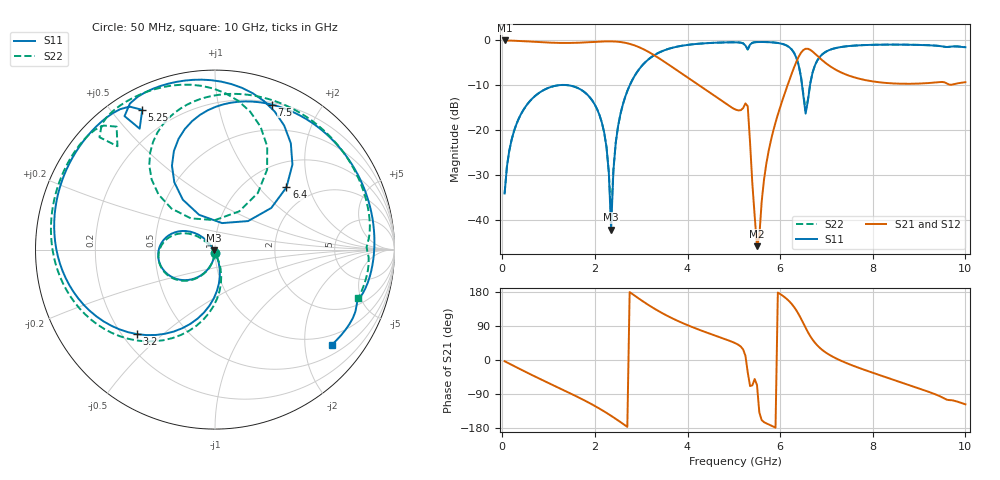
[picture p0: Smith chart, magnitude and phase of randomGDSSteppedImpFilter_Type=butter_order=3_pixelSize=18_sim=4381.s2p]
! freq	dB(S11)	phase(S11)	dB(S12)	phase(S12)
!  dB(S21)	phase(S21)	dB(S22)	phase(S22)
!S-par simulation data
#  GHz  S  DB  R 50
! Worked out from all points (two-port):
!   200 points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, 50 MHz to 10 GHz, reference 50 ohm
!   highest |S21| = 0.00 dB at 50 MHz (marker M1); lowest = -45.9 dB at 5.5 GHz (marker M2)
!   |S21| within 3 dB of the highest: start of sweep to 3.233 GHz; 6.435 GHz to 6.759 GHz (323.6 MHz wide, 4.91 % of centre)
!   lowest |S11| = -42.2 dB at 2.35 GHz (marker M3), VSWR 1.02, Z = 49.3 - j0.384 ohm
!   |S11| at or under -10 dB: start of sweep to 1.207 GHz; 1.426 GHz to 2.752 GHz (1.327 GHz wide, 63.5 % of centre); 6.472 GHz to 6.645 GHz (172.7 MHz wide, 2.63 % of centre)
!   |S22| runs from -39.2 to -0.3 dB; largest |S21 - S12| = 0
!   S11 on the Smith chart (normalised r, x): 50 MHz: 1.00, -0.04; 3.2 GHz: 0.26, -0.41; 5.25 GHz: 0.09, +0.60; 6.4 GHz: 1.50, +1.44; 7.5 GHz: 0.22, +1.44; 10 GHz: 0.73, -2.63
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0.05  -34.11 -93.2  -0.00 -3.2  -0.00 -3.2  -34.11 -93.1
0.2  -22.19 -103.1  -0.05 -12.7  -0.05 -12.7  -22.19 -102.8
0.55  -14.10 -125.3  -0.22 -34.2  -0.22 -34.2  -14.10 -124.3
1.75  -11.33 163.3  -0.46 -105.1  -0.46 -105.1  -11.33 166.7
2.2  -20.53 134.9  -0.22 -135.7  -0.22 -135.7  -20.53 140.7
2.35  -42.16 -150.1  -0.21 -147.2  -0.21 -147.2  -39.21 -144.5
2.4  -28.92 -75.2  -0.22 -151.2  -0.22 -151.2  -28.64 -76.6
2.55  -16.49 -79.7  -0.35 -163.6  -0.35 -163.6  -16.46 -76.6
3.2  -3.87 -132.7  -2.80 141.8  -2.80 141.8  -3.86 -127.1
3.4  -2.63 -147.2  -4.08 127.3  -4.08 127.3  -2.62 -141.2
4.15  -0.82 169.8  -9.30 84.6  -9.30 84.6  -0.82 177.9
5.05  -0.43 129.3  -15.47 43.3  -15.47 43.3  -0.42 139.9
5.25  -1.13 117.5  -14.04 11.3  -14.04 11.3  -1.14 128.7
5.3  -2.01 121.9  -14.68 -32.5  -14.68 -32.5  -2.03 133.3
5.5  -0.37 113.9  -45.87 -66.0  -45.87 -66.0  -0.36 126.0
5.8  -0.41 97.4  -22.30 -172.7  -22.30 -172.7  -0.40 110.5
6.4  -5.55 41.1  -3.64 120.6  -3.64 120.6  -5.48 56.9
6.55  -16.32 75.1  -1.85 84.8  -1.85 84.8  -15.69 90.1
6.7  -7.17 121.2  -2.47 53.6  -2.47 53.6  -7.15 135.7
7.5  -1.23 68.6  -7.90 -11.5  -7.90 -11.5  -1.24 86.6
8.35  -0.93 32.0  -9.53 -48.2  -9.53 -48.2  -0.93 52.1
10  -1.52 -39.2  -9.32 -117.0  -9.32 -117.0  -1.48 -18.7
